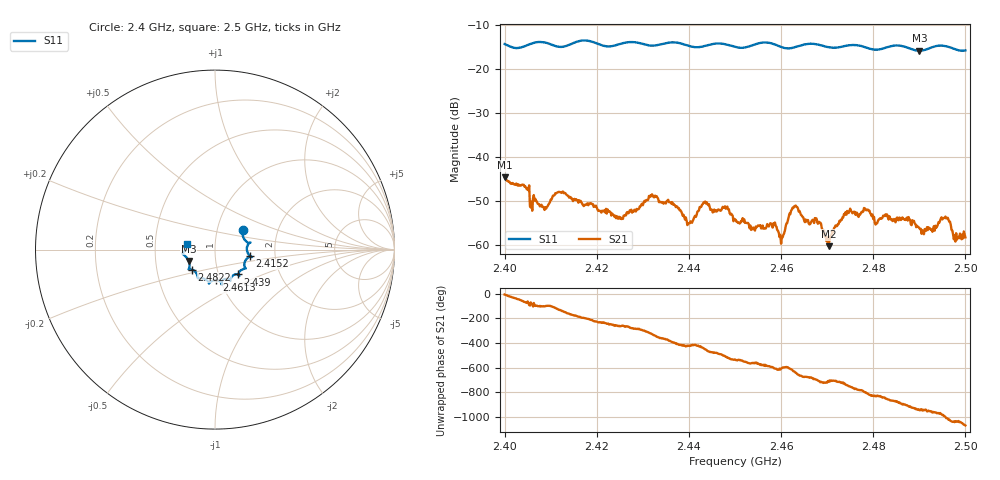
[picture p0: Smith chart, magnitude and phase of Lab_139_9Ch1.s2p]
# Hz S RI R 50
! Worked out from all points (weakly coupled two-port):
!   601 points, 2.4 GHz to 2.5 GHz, reference 50 ohm
!   highest |S21| = -44.61 dB at 2.4 GHz (marker M1); lowest = -60.2 dB at 2.4703 GHz (marker M2)
!   lowest |S11| = -15.9 dB at 2.49 GHz (marker M3), VSWR 1.38, Z = 36.9 - j4.84 ohm
!   |S11| at or under -10 dB: start of sweep to end of sweep
!   S12 and S22 are empty: the file has one direction only
!   S11 on the Smith chart (normalised r, x): 2.4 GHz: 1.33, +0.31; 2.4152 GHz: 1.48, -0.11; 2.439 GHz: 1.24, -0.36; 2.4613 GHz: 0.96, -0.34; 2.4822 GHz: 0.76, -0.17; 2.5 GHz: 0.73, +0.05
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2.4e9  0.1557 0.1107  0.00584 -0.000737  0 0  0 0
2.408667e9  0.1955 0.0394  -0.000555 -0.00245  0 0  0 0
2.4115e9  0.1782 0.0138  -0.00226 -0.00326  0 0  0 0
2.415167e9  0.195 -0.0361  -0.00336 -0.000114  0 0  0 0
2.416667e9  0.2046 -0.042  -0.003 0.00072  0 0  0 0
2.425167e9  0.1659 -0.0973  -0.000257 0.00205  0 0  0 0
2.433333e9  0.1321 -0.1321  0.00332 0.000447  0 0  0 0
2.439e9  0.1283 -0.1386  0.00109 -0.00178  0 0  0 0
2.4435e9  0.088 -0.1594  8.59e-06 -0.00313  0 0  0 0
2.45e9  0.0686 -0.1637  -0.00192 -0.000224  0 0  0 0
2.460167e9  0.0224 -0.1742  -0.000545 0.00108  0 0  0 0
2.461333e9  0.00694 -0.1705  -0.00102 0.00147  0 0  0 0
2.463e9  -0.0171 -0.1753  0.00018 0.00278  0 0  0 0
2.466667e9  -0.0335 -0.1896  0.0015 0.00116  0 0  0 0
2.470333e9  -0.0458 -0.1696  0.000971 0.000112  0 0  0 0
2.4745e9  -0.0892 -0.1611  0.00216 -0.000999  0 0  0 0
2.482167e9  -0.128 -0.1118  -0.00106 -0.00189  0 0  0 0
2.483333e9  -0.1393 -0.1104  -0.00143 -0.00134  0 0  0 0
2.49e9  -0.1468 -0.0638  -0.00114 0.00107  0 0  0 0
2.495667e9  -0.18 -0.0194  0.000272 0.0021  0 0  0 0
2.497833e9  -0.1665 -0.00222  0.000745 0.000813  0 0  0 0
2.5e9  -0.1584 0.0338  0.0012 0.000282  0 0  0 0
